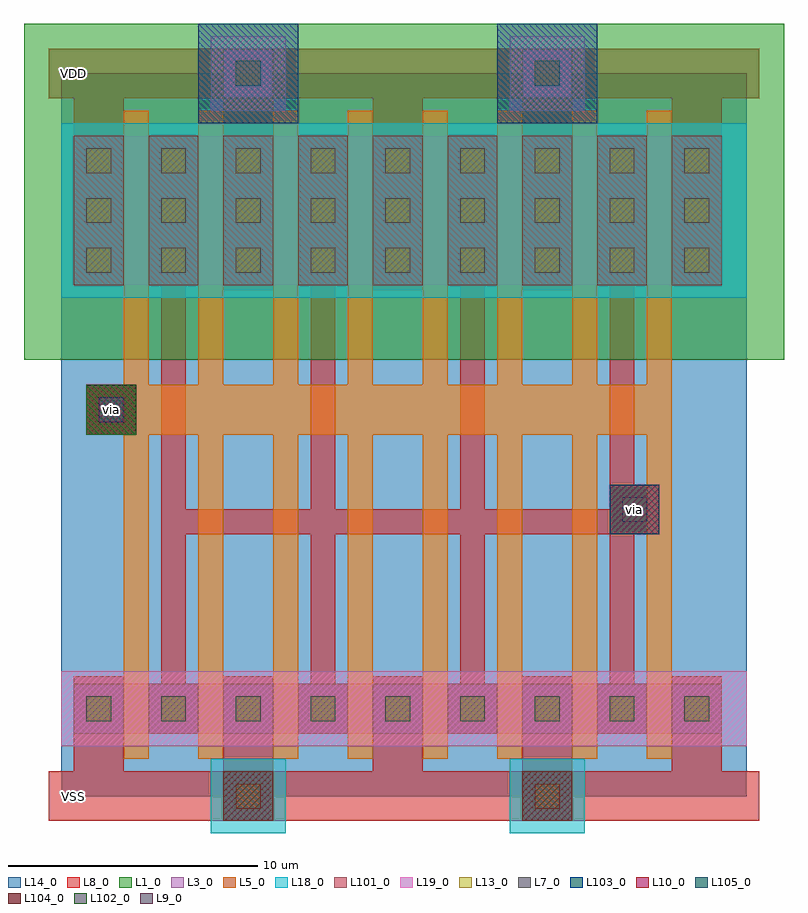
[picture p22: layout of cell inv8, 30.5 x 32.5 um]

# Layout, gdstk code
import gdstk
lib = gdstk.Library(unit=1e-6, precision=1e-09)
def R(c, l, rs):  # rectangles x0, y0, x1, y1
    for r in rs: c.add(gdstk.rectangle(r[:2], r[2:], *l))
L1_0 = (1, 0)
L3_0 = (3, 0)
L5_0 = (5, 0)
L7_0 = (7, 0)
L8_0 = (8, 0)
L9_0 = (9, 0)
L10_0 = (10, 0)
L13_0 = (13, 0)
L14_0 = (14, 0)
L18_0 = (18, 0)
L19_0 = (19, 0)
L101_0 = (101, 0)
L102_0 = (102, 0)
L103_0 = (103, 0)
L104_0 = (104, 0)
L105_0 = (105, 0)

dcont = lib.new_cell('dcont')
R(dcont, L3_0, [(-1,-1,1,1)])
R(dcont, L7_0, [(-0.5,-0.5,0.5,0.5)])
R(dcont, L8_0, [(-1,-1,1,1)])
R(dcont, L13_0, [(-0.5,-0.5,0.5,0.5)])
R(dcont, L101_0, [(-1,-1,1,1)])
dcont.add(gdstk.Label('dcont', (0,0), layer=13, texttype=0))

psubcont = lib.new_cell('psubcont')
R(psubcont, L18_0, [(-1.5,-1.5,1.5,1.5)])
R(psubcont, L104_0, [(-1,-1,1,1)])
psubcont.add(gdstk.Reference(dcont, (0,0)))
psubcont.add(gdstk.Label('PScon', (0,0), layer=13, texttype=0))

pcont = lib.new_cell('pcont')
R(pcont, L5_0, [(-1,-1,1,1)])
R(pcont, L7_0, [(-0.5,-0.5,0.5,0.5)])
R(pcont, L8_0, [(-1,-1,1,1)])
R(pcont, L102_0, [(-1,-1,1,1)])
pcont.add(gdstk.Label('pcont', (0,0), layer=13, texttype=0))

nsubcont = lib.new_cell('nsubcont')
R(nsubcont, L1_0, [(-2,-2,2,2)])
R(nsubcont, L19_0, [(-1.5,-1.5,1.5,1.5)])
R(nsubcont, L103_0, [(-2,-2,2,2)])
nsubcont.add(gdstk.Reference(dcont, (0,0)))
nsubcont.add(gdstk.Label('NScont', (0,0), layer=13, texttype=0))

via = lib.new_cell('Via')
R(via, L8_0, [(-1,-1,1,1)])
R(via, L9_0, [(-0.5,-0.5,0.5,0.5)])
R(via, L10_0, [(-1,-1,1,1)])
R(via, L13_0, [(-0.5,-0.5,0.5,0.5)])
R(via, L105_0, [(-1,-1,1,1)])
via.add(gdstk.Label('via', (0,0), layer=13, texttype=0))

inv8 = lib.new_cell('inv8')
R(inv8, L1_0, [(-1.5,17.5,29,31)])
R(inv8, L3_0, [(0.5,2.5,26.5,4.5), (0.5,20.5,26.5,26.5)])
R(inv8, L8_0, [(-0.5,-1,28,1), (22,10.5,24,12.5), (1,14.5,3,16.5), (-0.5,28,28,30)])
R(inv8, L10_0, [(22,10.5,24,12.5), (1,14.5,3,16.5)])
R(inv8, L14_0, [(0,0,27.5,29)])
R(inv8, L18_0, [(0,20,27.5,27)])
R(inv8, L19_0, [(0,2,27.5,5)])
R(inv8, L105_0, [(22,10.5,24,12.5), (1,14.5,3,16.5)])
inv8.add(gdstk.FlexPath([(1.5,1),(1.5,3.8)], 2, ends="extended", simple_path=True, layer=8, datatype=0))  # L8_0
inv8.add(gdstk.FlexPath([(1.5,21.5),(1.5,28.5)], 2, ends="extended", simple_path=True, layer=8, datatype=0))  # L8_0
inv8.add(gdstk.FlexPath([(4.5,20.5),(4.5,3.5)], 1, ends="extended", simple_path=True, layer=8, datatype=0))  # L8_0
inv8.add(gdstk.FlexPath([(4.5,22.3),(4.5,25.5)], 1.4, ends="extended", simple_path=True, layer=8, datatype=0))  # L8_0
inv8.add(gdstk.FlexPath([(7.5,1),(7.5,3.8)], 2, ends="extended", simple_path=True, layer=8, datatype=0))  # L8_0
inv8.add(gdstk.FlexPath([(7.5,21.3),(7.5,28.5)], 2, ends="extended", simple_path=True, layer=8, datatype=0))  # L8_0
inv8.add(gdstk.FlexPath([(10.5,21.5),(10.5,3.5)], 1, ends="extended", simple_path=True, layer=8, datatype=0))  # L8_0
inv8.add(gdstk.FlexPath([(10.5,22.3),(10.5,25.5)], 1.4, ends="extended", simple_path=True, layer=8, datatype=0))  # L8_0
inv8.add(gdstk.FlexPath([(13.5,21.3),(13.5,28.5)], 2, ends="extended", simple_path=True, layer=8, datatype=0))  # L8_0
inv8.add(gdstk.FlexPath([(4.8,11),(22.8,11)], 1, ends="extended", simple_path=True, layer=8, datatype=0))  # L8_0
inv8.add(gdstk.FlexPath([(13.5,1),(13.5,3.8)], 2, ends="extended", simple_path=True, layer=8, datatype=0))  # L8_0
inv8.add(gdstk.FlexPath([(16.5,21.5),(16.5,3.5)], 1, ends="extended", simple_path=True, layer=8, datatype=0))  # L8_0
inv8.add(gdstk.FlexPath([(19.5,22.3),(19.5,25.5)], 1.4, ends="extended", simple_path=True, layer=8, datatype=0))  # L8_0
inv8.add(gdstk.FlexPath([(19.5,21.3),(19.5,28.5)], 2, ends="extended", simple_path=True, layer=8, datatype=0))  # L8_0
inv8.add(gdstk.FlexPath([(19.5,1),(19.5,3.8)], 2, ends="extended", simple_path=True, layer=8, datatype=0))  # L8_0
inv8.add(gdstk.FlexPath([(22.5,21.5),(22.5,3.5)], 1, ends="extended", simple_path=True, layer=8, datatype=0))  # L8_0
inv8.add(gdstk.FlexPath([(25.5,22.3),(25.5,25.5)], 1.4, ends="extended", simple_path=True, layer=8, datatype=0))  # L8_0
inv8.add(gdstk.FlexPath([(25.5,21.5),(25.5,28.5)], 2, ends="extended", simple_path=True, layer=8, datatype=0))  # L8_0
inv8.add(gdstk.FlexPath([(25.5,1),(25.5,3.8)], 2, ends="extended", simple_path=True, layer=8, datatype=0))  # L8_0
inv8.add(gdstk.FlexPath([(24,27),(24,2)], 1, ends="extended", simple_path=True, layer=5, datatype=0))  # L5_0
inv8.add(gdstk.FlexPath([(21,2),(21,27)], 1, ends="extended", simple_path=True, layer=5, datatype=0))  # L5_0
inv8.add(gdstk.FlexPath([(15,27),(15,16),(24,16)], 1, ends="extended", simple_path=True, layer=5, datatype=0))  # L5_0
inv8.add(gdstk.FlexPath([(15,2),(15,15),(24,15)], 1, ends="extended", simple_path=True, layer=5, datatype=0))  # L5_0
inv8.add(gdstk.FlexPath([(18,27),(18,2)], 1, ends="extended", simple_path=True, layer=5, datatype=0))  # L5_0
inv8.add(gdstk.FlexPath([(12,27),(12,2)], 1, ends="extended", simple_path=True, layer=5, datatype=0))  # L5_0
inv8.add(gdstk.FlexPath([(3,27),(3,16),(15,16)], 1, ends="extended", simple_path=True, layer=5, datatype=0))  # L5_0
inv8.add(gdstk.FlexPath([(3,2),(3,15),(15,15)], 1, ends="extended", simple_path=True, layer=5, datatype=0))  # L5_0
inv8.add(gdstk.FlexPath([(9,2),(9,27)], 1, ends="extended", simple_path=True, layer=5, datatype=0))  # L5_0
inv8.add(gdstk.FlexPath([(6,27),(6,2)], 1, ends="extended", simple_path=True, layer=5, datatype=0))  # L5_0
inv8.add(gdstk.Reference(dcont, (1.5,3.5)))
inv8.add(gdstk.Reference(dcont, (25.5,25.5)))
inv8.add(gdstk.Reference(dcont, (22.5,21.5)))
inv8.add(gdstk.Reference(dcont, (19.5,25.5)))
inv8.add(gdstk.Reference(dcont, (10.5,3.5)))
inv8.add(gdstk.Reference(psubcont, (19.5,0)))
inv8.add(gdstk.Reference(dcont, (19.5,3.5)))
inv8.add(gdstk.Reference(dcont, (10.5,23.5)))
inv8.add(gdstk.Reference(dcont, (7.5,3.5)))
inv8.add(gdstk.Reference(dcont, (25.5,3.5)))
inv8.add(gdstk.Reference(dcont, (4.5,23.5)))
inv8.add(gdstk.Reference(dcont, (16.5,3.5)))
inv8.add(gdstk.Reference(dcont, (10.5,25.5)))
inv8.add(gdstk.Reference(dcont, (4.5,25.5)))
inv8.add(gdstk.Reference(pcont, (2,15.5)))
inv8.add(gdstk.Reference(dcont, (22.5,25.5)))
inv8.add(gdstk.Reference(dcont, (13.5,21.5)))
inv8.add(gdstk.Reference(dcont, (7.5,25.5)))
inv8.add(gdstk.Reference(dcont, (25.5,21.5)))
inv8.add(gdstk.Reference(dcont, (19.5,21.5)))
inv8.add(gdstk.Reference(dcont, (13.5,3.5)))
inv8.add(gdstk.Reference(dcont, (16.5,25.5)))
inv8.add(gdstk.Reference(dcont, (19.5,23.5)))
inv8.add(gdstk.Reference(nsubcont, (19.5,29)))
inv8.add(gdstk.Reference(psubcont, (7.5,0)))
inv8.add(gdstk.Reference(dcont, (1.5,25.5)))
inv8.add(gdstk.Reference(dcont, (1.5,21.5)))
inv8.add(gdstk.Reference(dcont, (4.5,3.5)))
inv8.add(gdstk.Reference(dcont, (7.5,21.5)))
inv8.add(gdstk.Reference(dcont, (1.5,23.5)))
inv8.add(gdstk.Reference(via, (23,11.5)))
inv8.add(gdstk.Reference(dcont, (7.5,23.5)))
inv8.add(gdstk.Reference(dcont, (13.5,23.5)))
inv8.add(gdstk.Reference(dcont, (10.5,21.5)))
inv8.add(gdstk.Reference(dcont, (4.5,21.5)))
inv8.add(gdstk.Reference(dcont, (16.5,23.5)))
inv8.add(gdstk.Reference(nsubcont, (7.5,29)))
inv8.add(gdstk.Reference(dcont, (22.5,3.5)))
inv8.add(gdstk.Reference(dcont, (16.5,21.5)))
inv8.add(gdstk.Reference(dcont, (25.5,23.5)))
inv8.add(gdstk.Reference(via, (2,15.5)))
inv8.add(gdstk.Reference(dcont, (22.5,23.5)))
inv8.add(gdstk.Reference(dcont, (13.5,25.5)))
inv8.add(gdstk.Label('VDD', (0.5,29), layer=8, texttype=0))
inv8.add(gdstk.Label('VSS', (0.5,0), layer=8, texttype=0))
inv8.add(gdstk.Label('via', (2,15.5), layer=13, texttype=0))
inv8.add(gdstk.Label('via', (23,11.5), layer=13, texttype=0))
inv8.add(gdstk.Label('A', (2,15.5), layer=10, texttype=0))
inv8.add(gdstk.Label('X', (23,11.5), layer=10, texttype=0))

lib.write_gds('inv8.gds')
